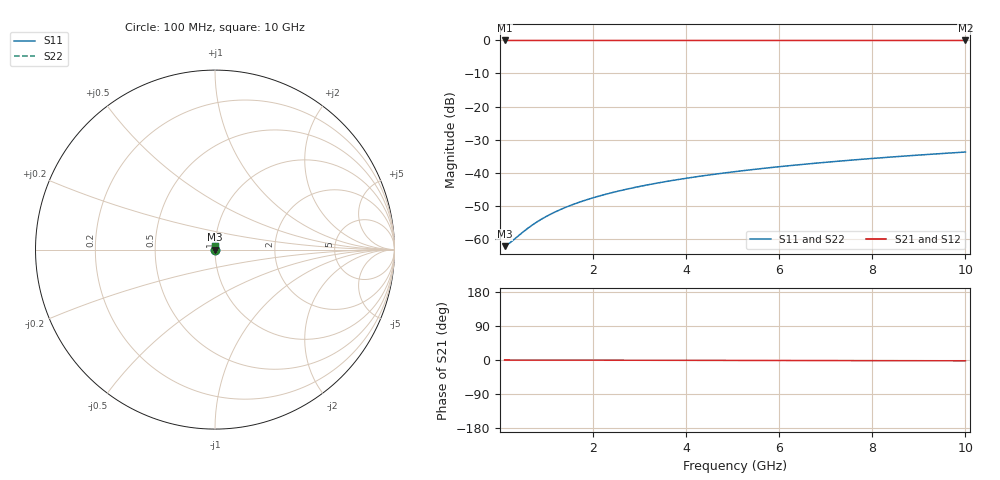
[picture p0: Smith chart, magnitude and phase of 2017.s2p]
# Hz S RI R 50.00
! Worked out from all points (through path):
!   100 points, 100 MHz to 10 GHz, reference 50 ohm
!   highest |S21| = -0.01 dB at 100 MHz (marker M1); lowest = 0.0 dB at 10 GHz (marker M2)
!   lowest |S11| = -62.3 dB at 100 MHz (marker M3), VSWR 1.00, Z = 50.1 + j0.0204 ohm
!   |S11| at or under -10 dB: start of sweep to end of sweep
!   |S22| runs from -62.3 to -33.8 dB; largest |S21 - S12| = 0
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1e8  0.000742 0.000204  0.9993 -0.000373  0.9993 -0.000373  0.000742 0.000204
2e8  0.000747 0.000407  0.9993 -0.000745  0.9993 -0.000745  0.000747 0.000407
5e8  0.000758 0.00102  0.9992 -0.00186  0.9992 -0.00186  0.000758 0.00102
6e8  0.000761 0.00122  0.9992 -0.00224  0.9992 -0.00224  0.000761 0.00122
7e8  0.000764 0.00142  0.9992 -0.00261  0.9992 -0.00261  0.000764 0.00142
9e8  0.000769 0.00183  0.9992 -0.00335  0.9992 -0.00335  0.000769 0.00183
1.1e9  0.000775 0.00224  0.9992 -0.0041  0.9992 -0.0041  0.000775 0.00224
1.3e9  0.000782 0.00265  0.9992 -0.00485  0.9992 -0.00485  0.000782 0.00265
1.5e9  0.000788 0.00305  0.9992 -0.00559  0.9992 -0.00559  0.000788 0.00305
1.8e9  0.000799 0.00366  0.9992 -0.00671  0.9992 -0.00671  0.000799 0.00366
2.1e9  0.000811 0.00427  0.9992 -0.00783  0.9992 -0.00783  0.000811 0.00427
2.5e9  0.000828 0.00509  0.9992 -0.00932  0.9992 -0.00932  0.000828 0.00509
2.9e9  0.000848 0.0059  0.9991 -0.0108  0.9991 -0.0108  0.000848 0.0059
3.4e9  0.000875 0.00692  0.9991 -0.0127  0.9991 -0.0127  0.000875 0.00692
3.8e9  0.0009 0.00774  0.9991 -0.0142  0.9991 -0.0142  0.0009 0.00774
4.2e9  0.000927 0.00855  0.999 -0.0157  0.999 -0.0157  0.000927 0.00855
5.1e9  0.000997 0.0104  0.999 -0.019  0.999 -0.019  0.000997 0.0104
5.9e9  0.00107 0.012  0.9989 -0.022  0.9989 -0.022  0.00107 0.012
6.7e9  0.00115 0.0136  0.9988 -0.025  0.9988 -0.025  0.00115 0.0136
7.5e9  0.00124 0.0153  0.9987 -0.028  0.9987 -0.028  0.00124 0.0153
8.4e9  0.00136 0.0171  0.9985 -0.0314  0.9985 -0.0314  0.00136 0.0171
1e10  0.00159 0.0204  0.9982 -0.0374  0.9982 -0.0374  0.00159 0.0204
